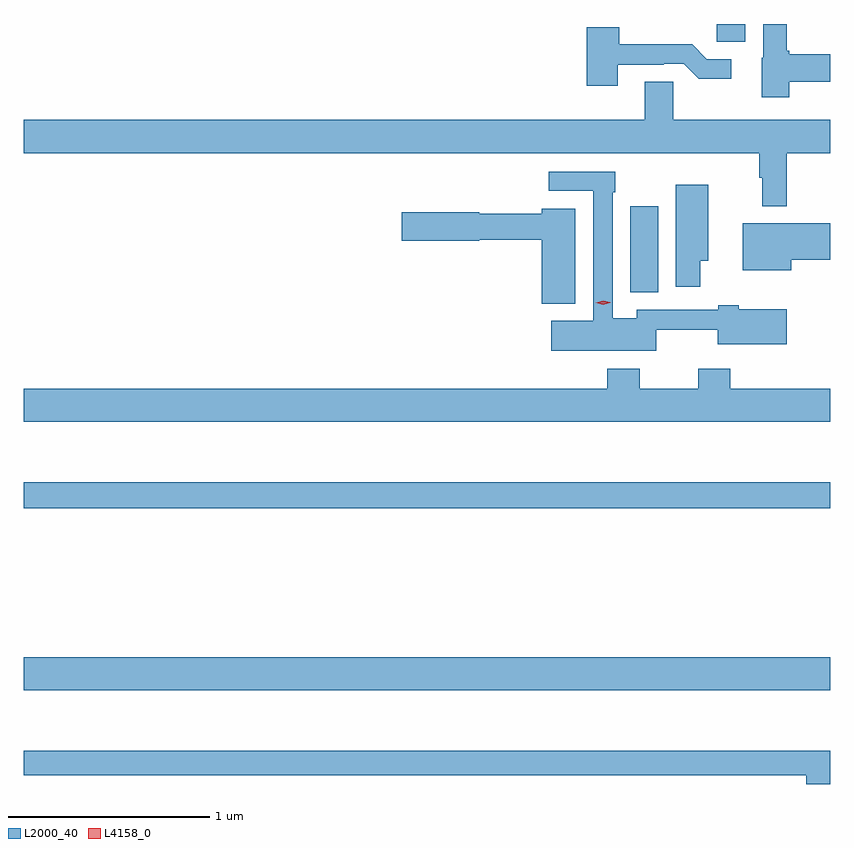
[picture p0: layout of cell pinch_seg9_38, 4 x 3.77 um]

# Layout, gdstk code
import gdstk
lib = gdstk.Library(unit=1e-6, precision=1e-09)
def R(c, l, rs):  # rectangles x0, y0, x1, y1
    for r in rs: c.add(gdstk.rectangle(r[:2], r[2:], *l))
def P(c, l, *ps):  # polygons
    for p in ps: c.add(gdstk.Polygon(p, *l))
L2000_40 = (2000, 40)
L4158_0 = (4158, 0)

pinch_seg9_38 = lib.new_cell('pinch_seg9_38')
R(pinch_seg9_38, L2000_40, [(1006.616,1217.732,1010.616,1217.896), (1006.616,1218.634,1010.616,1218.763), (1009.625,1219.705,1009.762,1220.131), (1010.052,1220.947,1010.194,1221.036), (1006.938,1221.034,1007.326,1221.036)])
P(pinch_seg9_38, L2000_40, [(1010.412,1220.75),(1010.616,1220.75),(1010.616,1220.885),(1010.412,1220.885),(1010.412,1220.903),(1010.399,1220.903),(1010.399,1221.036),(1010.283,1221.036),(1010.283,1220.868),(1010.276,1220.868),(1010.276,1220.672),(1010.412,1220.672)],
  [(1009.561,1220.835),(1009.79,1220.835),(1009.79,1220.838),(1009.89,1220.838),(1009.963,1220.765),(1010.125,1220.765),(1010.125,1220.862),(1010.004,1220.862),(1009.931,1220.935),(1009.569,1220.935),(1009.569,1221.019),(1009.409,1221.019),(1009.409,1220.73),(1009.561,1220.73)],
  [(1010.399,1220.396),(1010.616,1220.396),(1010.616,1220.56),(1009.836,1220.56),(1009.836,1220.75),(1009.697,1220.75),(1009.697,1220.56),(1006.616,1220.56),(1006.616,1220.396),(1010.263,1220.396),(1010.263,1220.273),(1010.278,1220.273),(1010.278,1220.133),(1010.399,1220.133)],
  [(1009.752,1219.519),(1010.057,1219.519),(1010.057,1219.448),(1010.401,1219.448),(1010.401,1219.621),(1010.161,1219.621),(1010.161,1219.64),(1010.061,1219.64),(1010.061,1219.62),(1009.656,1219.62),(1009.656,1219.576),(1009.536,1219.576),(1009.536,1220.201),(1009.549,1220.201),(1009.549,1220.304),(1009.221,1220.304),(1009.221,1220.208),(1009.44,1220.208),(1009.44,1219.564),(1009.233,1219.564),(1009.233,1219.415),(1009.752,1219.415)],
  [(1009.972,1219.862),(1010.011,1219.862),(1010.011,1220.239),(1009.85,1220.239),(1009.85,1219.734),(1009.972,1219.734)],
  [(1009.351,1220.119),(1009.184,1220.119),(1009.184,1220.095),(1008.876,1220.095),(1008.876,1220.103),(1008.492,1220.103),(1008.492,1219.961),(1008.876,1219.961),(1008.876,1219.966),(1009.184,1219.966),(1009.184,1219.649),(1009.351,1219.649)],
  [(1010.422,1219.868),(1010.616,1219.868),(1010.616,1220.047),(1010.183,1220.047),(1010.183,1219.814),(1010.422,1219.814)],
  [(1010.616,1219.228),(1010.12,1219.228),(1010.12,1219.327),(1009.96,1219.327),(1009.96,1219.228),(1009.671,1219.228),(1009.671,1219.327),(1009.511,1219.327),(1009.511,1219.228),(1006.616,1219.228),(1006.616,1219.064),(1010.616,1219.064)],
  [(1010.616,1217.431),(1006.616,1217.431),(1006.616,1217.31),(1010.498,1217.31),(1010.498,1217.267),(1010.616,1217.267)])
P(pinch_seg9_38, L4158_0, [(1009.489,1219.644),(1009.454,1219.653),(1009.454,1219.653),(1009.454,1219.653),(1009.489,1219.664),(1009.524,1219.655),(1009.524,1219.654),(1009.524,1219.654)])

lib.write_gds('pinch_seg9_38.gds')
